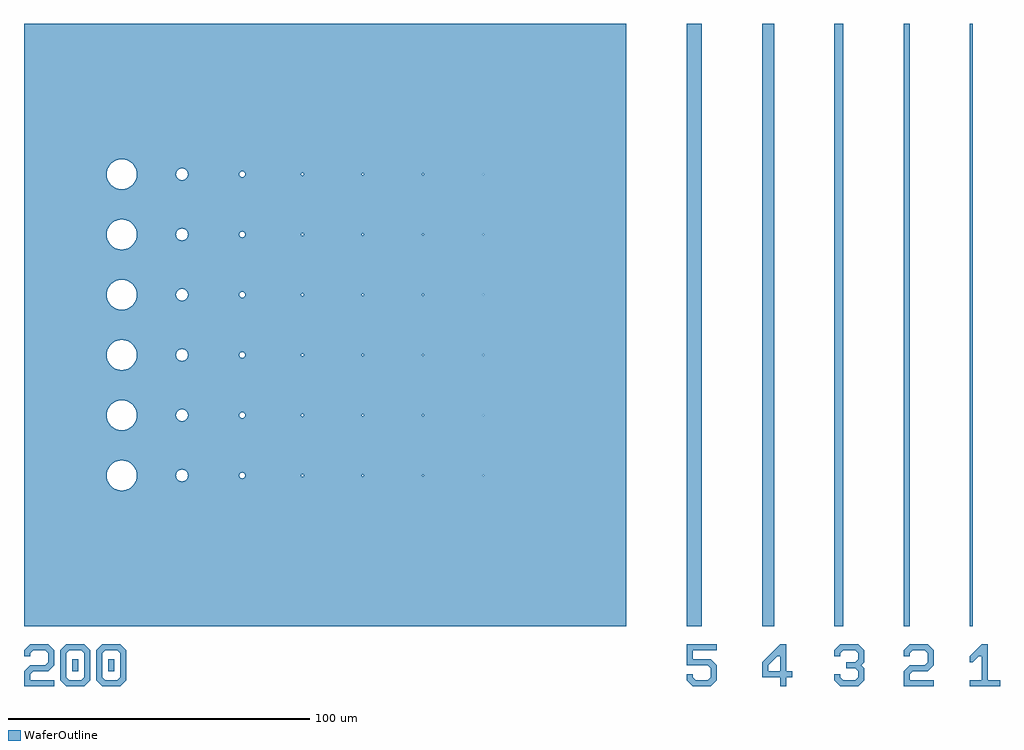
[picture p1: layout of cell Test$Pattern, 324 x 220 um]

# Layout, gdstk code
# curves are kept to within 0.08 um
import gdstk
lib = gdstk.Library(unit=1e-6, precision=1e-09)
def R(c, l, rs):  # rectangles x0, y0, x1, y1
    for r in rs: c.add(gdstk.rectangle(r[:2], r[2:], *l))
def P(c, l, *ps):  # polygons
    for p in ps: c.add(gdstk.Polygon(p, *l))
WaferOutline = (1, 0)

test_pattern = lib.new_cell('Test$Pattern')
R(test_pattern, WaferOutline, [(2394.66,-4977.28,2396.66,-4973.28), (2406.66,-4977.28,2408.66,-4973.28), (2598.66,-4962.28,2603.66,-4762.28), (2623.66,-4962.28,2627.66,-4762.28), (2647.66,-4962.28,2650.66,-4762.28), (2670.66,-4962.28,2672.66,-4762.28), (2692.66,-4962.28,2693.66,-4762.28)])
P(test_pattern, WaferOutline, [(2378.66,-4982.28),(2378.66,-4977.28),(2380.66,-4975.28),(2385.66,-4975.28),(2386.66,-4974.28),(2386.66,-4971.28),(2385.66,-4970.28),(2381.66,-4970.28),(2380.66,-4971.28),(2380.66,-4972.28),(2378.66,-4972.28),(2378.66,-4970.28),(2380.66,-4968.28),(2386.66,-4968.28),(2388.66,-4970.28),(2388.66,-4975.28),(2386.66,-4977.28),(2381.66,-4977.28),(2380.66,-4978.28),(2380.66,-4980.28),(2388.66,-4980.28),(2388.66,-4982.28)],
  [(2392.66,-4982.28),(2390.66,-4980.28),(2390.66,-4970.28),(2393.66,-4970.28),(2392.66,-4971.28),(2392.66,-4979.28),(2393.66,-4980.28),(2397.66,-4980.28),(2398.66,-4979.28),(2398.66,-4971.28),(2397.66,-4970.28),(2390.66,-4970.28),(2392.66,-4968.28),(2398.66,-4968.28),(2400.66,-4970.28),(2400.66,-4980.28),(2398.66,-4982.28)],
  [(2404.66,-4982.28),(2402.66,-4980.28),(2402.66,-4970.28),(2405.66,-4970.28),(2404.66,-4971.28),(2404.66,-4979.28),(2405.66,-4980.28),(2409.66,-4980.28),(2410.66,-4979.28),(2410.66,-4971.28),(2409.66,-4970.28),(2402.66,-4970.28),(2404.66,-4968.28),(2410.66,-4968.28),(2412.66,-4970.28),(2412.66,-4980.28),(2410.66,-4982.28)],
  [(2600.66,-4982.28),(2598.66,-4980.28),(2598.66,-4978.28),(2600.66,-4978.28),(2600.66,-4979.28),(2601.66,-4980.28),(2605.66,-4980.28),(2606.66,-4979.28),(2606.66,-4976.28),(2605.66,-4975.28),(2598.66,-4975.28),(2598.66,-4968.28),(2608.66,-4968.28),(2608.66,-4970.28),(2600.66,-4970.28),(2600.66,-4973.28),(2606.66,-4973.28),(2608.66,-4975.28),(2608.66,-4980.28),(2606.66,-4982.28)],
  [(2629.66,-4982.28),(2629.66,-4979.28),(2623.66,-4979.28),(2623.66,-4974.28),(2625.66,-4972.28),(2628.66,-4972.28),(2625.66,-4975.28),(2625.66,-4977.28),(2629.66,-4977.28),(2629.66,-4972.28),(2625.66,-4972.28),(2629.66,-4968.28),(2631.66,-4968.28),(2631.66,-4977.28),(2633.66,-4977.28),(2633.66,-4979.28),(2631.66,-4979.28),(2631.66,-4982.28)],
  [(2649.66,-4982.28),(2647.66,-4980.28),(2647.66,-4978.28),(2649.66,-4978.28),(2649.66,-4979.28),(2650.66,-4980.28),(2654.66,-4980.28),(2655.66,-4979.28),(2655.66,-4977.28),(2654.66,-4976.28),(2651.66,-4976.28),(2651.66,-4974.28),(2654.66,-4974.28),(2655.66,-4973.28),(2655.66,-4971.28),(2654.66,-4970.28),(2650.66,-4970.28),(2649.66,-4971.28),(2649.66,-4972.28),(2647.66,-4972.28),(2647.66,-4970.28),(2649.66,-4968.28),(2655.66,-4968.28),(2657.66,-4970.28),(2657.66,-4974.28),(2656.66,-4975.28),(2657.66,-4976.28),(2657.66,-4980.28),(2655.66,-4982.28)],
  [(2670.66,-4982.28),(2670.66,-4977.28),(2672.66,-4975.28),(2677.66,-4975.28),(2678.66,-4974.28),(2678.66,-4971.28),(2677.66,-4970.28),(2673.66,-4970.28),(2672.66,-4971.28),(2672.66,-4972.28),(2670.66,-4972.28),(2670.66,-4970.28),(2672.66,-4968.28),(2678.66,-4968.28),(2680.66,-4970.28),(2680.66,-4975.28),(2678.66,-4977.28),(2673.66,-4977.28),(2672.66,-4978.28),(2672.66,-4980.28),(2680.66,-4980.28),(2680.66,-4982.28)],
  [(2692.66,-4982.28),(2692.66,-4980.28),(2696.66,-4980.28),(2696.66,-4972.28),(2695.66,-4972.28),(2693.66,-4974.28),(2692.66,-4974.28),(2692.66,-4972.28),(2696.66,-4968.28),(2698.66,-4968.28),(2698.66,-4980.28),(2702.66,-4980.28),(2702.66,-4982.28)],
  [(2378.66,-4962.28),(2378.66,-4907.28),(2411.11,-4907.28),(2410.173,-4907.369),(2409.269,-4907.631),(2408.431,-4908.058),(2407.687,-4908.635),(2406.888,-4909.601),(2406.461,-4910.439),(2406.199,-4911.343),(2406.11,-4912.28),(2406.199,-4913.217),(2406.461,-4914.121),(2406.888,-4914.959),(2407.465,-4915.703),(2408.431,-4916.502),(2409.269,-4916.929),(2410.173,-4917.191),(2411.11,-4917.28),(2412.353,-4917.123),(2413.519,-4916.662),(2414.533,-4915.925),(2415.332,-4914.959),(2415.865,-4913.825),(2416.1,-4912.594),(2416.021,-4911.343),(2415.69,-4910.28),(2431.11,-4910.28),(2430.374,-4910.42),(2429.741,-4910.822),(2429.3,-4911.428),(2429.11,-4912.28),(2429.25,-4913.016),(2429.652,-4913.649),(2430.258,-4914.09),(2431.11,-4914.28),(2432.074,-4914.033),(2432.863,-4913.244),(2433.11,-4912.28),(2432.842,-4911.28),(2451.11,-4911.28),(2450.425,-4911.551),(2450.205,-4911.854),(2450.11,-4912.28),(2450.381,-4912.965),(2450.684,-4913.185),(2451.11,-4913.28),(2451.592,-4913.156),(2451.986,-4912.762),(2452.11,-4912.28),(2451.975,-4911.78),(2471.11,-4911.78),(2470.768,-4911.916),(2470.61,-4912.28),(2470.746,-4912.622),(2471.11,-4912.78),(2471.404,-4912.685),(2471.586,-4912.435),(2471.586,-4912.125),(2471.41,-4911.88),(2491.11,-4911.88),(2490.836,-4911.988),(2490.71,-4912.28),(2490.818,-4912.554),(2491.11,-4912.68),(2491.482,-4912.427),(2491.375,-4911.98),(2511.11,-4911.98),(2510.905,-4912.061),(2510.81,-4912.28),(2510.891,-4912.485),(2511.11,-4912.58),(2511.381,-4912.408),(2511.333,-4912.08),(2531.097,-4912.08),(2530.91,-4912.267),(2531.097,-4912.48),(2531.279,-4912.387),(2531.283,-4912.18),(2551.104,-4912.18),(2551.033,-4912.344),(2551.21,-4912.286),(2551.116,-4912.18),(2531.283,-4912.18),(2531.123,-4912.08),(2451.975,-4911.78),(2451.592,-4911.404),(2451.11,-4911.28),(2432.842,-4911.28),(2432.182,-4910.591),(2431.236,-4910.284),(2415.69,-4910.28),(2414.963,-4909.093),(2414.049,-4908.235),(2412.951,-4907.631),(2411.424,-4907.29),(2378.66,-4907.28),(2378.66,-4887.28),(2411.11,-4887.28),(2410.173,-4887.369),(2409.269,-4887.631),(2408.431,-4888.058),(2407.687,-4888.635),(2406.888,-4889.601),(2406.461,-4890.439),(2406.199,-4891.343),(2406.11,-4892.28),(2406.199,-4893.217),(2406.461,-4894.121),(2406.888,-4894.959),(2407.465,-4895.703),(2408.431,-4896.502),(2409.269,-4896.929),(2410.173,-4897.191),(2411.11,-4897.28),(2412.353,-4897.123),(2413.519,-4896.662),(2414.533,-4895.925),(2415.332,-4894.959),(2415.865,-4893.825),(2416.1,-4892.594),(2416.021,-4891.343),(2415.69,-4890.28),(2431.11,-4890.28),(2430.374,-4890.42),(2429.741,-4890.822),(2429.3,-4891.428),(2429.11,-4892.28),(2429.25,-4893.016),(2429.652,-4893.649),(2430.258,-4894.09),(2431.11,-4894.28),(2432.074,-4894.033),(2432.863,-4893.244),(2433.11,-4892.28),(2432.842,-4891.28),(2451.11,-4891.28),(2450.425,-4891.551),(2450.205,-4891.854),(2450.11,-4892.28),(2450.381,-4892.965),(2450.684,-4893.185),(2451.11,-4893.28),(2451.592,-4893.156),(2451.986,-4892.762),(2452.11,-4892.28),(2451.975,-4891.78),(2471.11,-4891.78),(2470.768,-4891.916),(2470.61,-4892.28),(2470.746,-4892.622),(2471.11,-4892.78),(2471.404,-4892.685),(2471.586,-4892.435),(2471.586,-4892.125),(2471.41,-4891.88),(2491.11,-4891.88),(2490.836,-4891.988),(2490.71,-4892.28),(2490.818,-4892.554),(2491.11,-4892.68),(2491.482,-4892.427),(2491.375,-4891.98),(2511.11,-4891.98),(2510.905,-4892.061),(2510.81,-4892.28),(2510.891,-4892.485),(2511.11,-4892.58),(2511.381,-4892.408),(2511.333,-4892.08),(2531.097,-4892.08),(2530.91,-4892.267),(2531.097,-4892.48),(2531.279,-4892.387),(2531.283,-4892.18),(2551.104,-4892.18),(2551.033,-4892.344),(2551.21,-4892.286),(2551.116,-4892.18),(2531.283,-4892.18),(2531.123,-4892.08),(2451.975,-4891.78),(2451.592,-4891.404),(2451.11,-4891.28),(2432.842,-4891.28),(2432.182,-4890.591),(2431.236,-4890.284),(2415.69,-4890.28),(2414.963,-4889.093),(2414.049,-4888.235),(2412.951,-4887.631),(2411.424,-4887.29),(2378.66,-4887.28),(2378.66,-4867.28),(2411.11,-4867.28),(2410.173,-4867.369),(2409.269,-4867.631),(2408.431,-4868.058),(2407.687,-4868.635),(2406.888,-4869.601),(2406.461,-4870.439),(2406.199,-4871.343),(2406.11,-4872.28),(2406.199,-4873.217),(2406.461,-4874.121),(2406.888,-4874.959),(2407.465,-4875.703),(2408.431,-4876.502),(2409.269,-4876.929),(2410.173,-4877.191),(2411.11,-4877.28),(2412.353,-4877.123),(2413.519,-4876.662),(2414.533,-4875.925),(2415.332,-4874.959),(2415.865,-4873.825),(2416.1,-4872.594),(2416.021,-4871.343),(2415.69,-4870.28),(2431.11,-4870.28),(2430.374,-4870.42),(2429.741,-4870.822),(2429.3,-4871.428),(2429.11,-4872.28),(2429.25,-4873.016),(2429.652,-4873.649),(2430.258,-4874.09),(2431.11,-4874.28),(2432.074,-4874.033),(2432.863,-4873.244),(2433.11,-4872.28),(2432.842,-4871.28),(2451.11,-4871.28),(2450.425,-4871.551),(2450.205,-4871.854),(2450.11,-4872.28),(2450.381,-4872.965),(2450.684,-4873.185),(2451.11,-4873.28),(2451.592,-4873.156),(2451.986,-4872.762),(2452.11,-4872.28),(2451.975,-4871.78),(2471.11,-4871.78),(2470.768,-4871.916),(2470.61,-4872.28),(2470.746,-4872.622),(2471.11,-4872.78),(2471.404,-4872.685),(2471.586,-4872.435),(2471.586,-4872.125),(2471.41,-4871.88),(2491.11,-4871.88),(2490.836,-4871.988),(2490.71,-4872.28),(2490.818,-4872.554),(2491.11,-4872.68),(2491.482,-4872.427),(2491.375,-4871.98),(2511.11,-4871.98),(2510.905,-4872.061),(2510.81,-4872.28),(2510.891,-4872.485),(2511.11,-4872.58),(2511.381,-4872.408),(2511.333,-4872.08),(2531.097,-4872.08),(2530.91,-4872.267),(2531.097,-4872.48),(2531.279,-4872.387),(2531.283,-4872.18),(2551.104,-4872.18),(2551.033,-4872.344),(2551.21,-4872.286),(2551.116,-4872.18),(2531.283,-4872.18),(2531.123,-4872.08),(2451.975,-4871.78),(2451.592,-4871.404),(2451.11,-4871.28),(2432.842,-4871.28),(2432.182,-4870.591),(2431.236,-4870.284),(2415.69,-4870.28),(2414.963,-4869.093),(2414.049,-4868.235),(2412.951,-4867.631),(2411.424,-4867.29),(2378.66,-4867.28),(2378.66,-4847.28),(2411.11,-4847.28),(2410.173,-4847.369),(2409.269,-4847.631),(2408.431,-4848.058),(2407.687,-4848.635),(2406.888,-4849.601),(2406.461,-4850.439),(2406.199,-4851.343),(2406.11,-4852.28),(2406.199,-4853.217),(2406.461,-4854.121),(2406.888,-4854.959),(2407.465,-4855.703),(2408.431,-4856.502),(2409.269,-4856.929),(2410.173,-4857.191),(2411.11,-4857.28),(2412.353,-4857.123),(2413.519,-4856.662),(2414.533,-4855.925),(2415.332,-4854.959),(2415.865,-4853.825),(2416.1,-4852.594),(2416.021,-4851.343),(2415.69,-4850.28),(2431.11,-4850.28),(2430.374,-4850.42),(2429.741,-4850.822),(2429.3,-4851.428),(2429.11,-4852.28),(2429.25,-4853.016),(2429.652,-4853.649),(2430.258,-4854.09),(2431.11,-4854.28),(2432.074,-4854.033),(2432.863,-4853.244),(2433.11,-4852.28),(2432.842,-4851.28),(2451.11,-4851.28),(2450.425,-4851.551),(2450.205,-4851.854),(2450.11,-4852.28),(2450.381,-4852.965),(2450.684,-4853.185),(2451.11,-4853.28),(2451.592,-4853.156),(2451.986,-4852.762),(2452.11,-4852.28),(2451.975,-4851.78),(2471.11,-4851.78),(2470.768,-4851.916),(2470.61,-4852.28),(2470.746,-4852.622),(2471.11,-4852.78),(2471.404,-4852.685),(2471.586,-4852.435),(2471.586,-4852.125),(2471.41,-4851.88),(2491.11,-4851.88),(2490.836,-4851.988),(2490.71,-4852.28),(2490.818,-4852.554),(2491.11,-4852.68),(2491.482,-4852.427),(2491.375,-4851.98),(2511.11,-4851.98),(2510.905,-4852.061),(2510.81,-4852.28),(2510.891,-4852.485),(2511.11,-4852.58),(2511.381,-4852.408),(2511.333,-4852.08),(2531.097,-4852.08),(2530.91,-4852.267),(2531.097,-4852.48),(2531.279,-4852.387),(2531.283,-4852.18),(2551.104,-4852.18),(2551.033,-4852.344),(2551.21,-4852.286),(2551.116,-4852.18),(2531.283,-4852.18),(2531.123,-4852.08),(2451.975,-4851.78),(2451.592,-4851.404),(2451.11,-4851.28),(2432.842,-4851.28),(2432.182,-4850.591),(2431.236,-4850.284),(2415.69,-4850.28),(2414.963,-4849.093),(2414.049,-4848.235),(2412.951,-4847.631),(2411.424,-4847.29),(2378.66,-4847.28),(2378.66,-4827.28),(2411.11,-4827.28),(2410.173,-4827.369),(2409.269,-4827.631),(2408.431,-4828.058),(2407.687,-4828.635),(2406.888,-4829.601),(2406.461,-4830.439),(2406.199,-4831.343),(2406.11,-4832.28),(2406.199,-4833.217),(2406.461,-4834.121),(2406.888,-4834.959),(2407.465,-4835.703),(2408.431,-4836.502),(2409.269,-4836.929),(2410.173,-4837.191),(2411.11,-4837.28),(2412.353,-4837.123),(2413.519,-4836.662),(2414.533,-4835.925),(2415.332,-4834.959),(2415.865,-4833.825),(2416.1,-4832.594),(2416.021,-4831.343),(2415.69,-4830.28),(2431.11,-4830.28),(2430.374,-4830.42),(2429.741,-4830.822),(2429.3,-4831.428),(2429.11,-4832.28),(2429.25,-4833.016),(2429.652,-4833.649),(2430.258,-4834.09),(2431.11,-4834.28),(2432.074,-4834.033),(2432.863,-4833.244),(2433.11,-4832.28),(2432.842,-4831.28),(2451.11,-4831.28),(2450.425,-4831.551),(2450.205,-4831.854),(2450.11,-4832.28),(2450.381,-4832.965),(2450.684,-4833.185),(2451.11,-4833.28),(2451.592,-4833.156),(2451.986,-4832.762),(2452.11,-4832.28),(2451.975,-4831.78),(2471.11,-4831.78),(2470.768,-4831.916),(2470.61,-4832.28),(2470.746,-4832.622),(2471.11,-4832.78),(2471.404,-4832.685),(2471.586,-4832.435),(2471.586,-4832.125),(2471.41,-4831.88),(2491.11,-4831.88),(2490.836,-4831.988),(2490.71,-4832.28),(2490.818,-4832.554),(2491.11,-4832.68),(2491.482,-4832.427),(2491.375,-4831.98),(2511.11,-4831.98),(2510.905,-4832.061),(2510.81,-4832.28),(2510.891,-4832.485),(2511.11,-4832.58),(2511.381,-4832.408),(2511.333,-4832.08),(2531.097,-4832.08),(2530.91,-4832.267),(2531.097,-4832.48),(2531.279,-4832.387),(2531.283,-4832.18),(2551.104,-4832.18),(2551.033,-4832.344),(2551.21,-4832.286),(2551.116,-4832.18),(2531.283,-4832.18),(2531.123,-4832.08),(2451.975,-4831.78),(2451.592,-4831.404),(2451.11,-4831.28),(2432.842,-4831.28),(2432.182,-4830.591),(2431.236,-4830.284),(2415.69,-4830.28),(2414.963,-4829.093),(2414.049,-4828.235),(2412.951,-4827.631),(2411.424,-4827.29),(2378.66,-4827.28),(2378.66,-4807.28),(2411.11,-4807.28),(2410.173,-4807.369),(2409.269,-4807.631),(2408.431,-4808.058),(2407.687,-4808.635),(2406.888,-4809.601),(2406.461,-4810.439),(2406.199,-4811.343),(2406.11,-4812.28),(2406.199,-4813.217),(2406.461,-4814.121),(2406.888,-4814.959),(2407.465,-4815.703),(2408.431,-4816.502),(2409.269,-4816.929),(2410.173,-4817.191),(2411.11,-4817.28),(2412.353,-4817.123),(2413.519,-4816.662),(2414.533,-4815.925),(2415.332,-4814.959),(2415.865,-4813.825),(2416.1,-4812.594),(2416.021,-4811.343),(2415.69,-4810.28),(2431.11,-4810.28),(2430.374,-4810.42),(2429.741,-4810.822),(2429.3,-4811.428),(2429.11,-4812.28),(2429.25,-4813.016),(2429.652,-4813.649),(2430.258,-4814.09),(2431.11,-4814.28),(2432.074,-4814.033),(2432.863,-4813.244),(2433.11,-4812.28),(2432.842,-4811.28),(2451.11,-4811.28),(2450.425,-4811.551),(2450.205,-4811.854),(2450.11,-4812.28),(2450.381,-4812.965),(2450.684,-4813.185),(2451.11,-4813.28),(2451.592,-4813.156),(2451.986,-4812.762),(2452.11,-4812.28),(2451.975,-4811.78),(2471.11,-4811.78),(2470.768,-4811.916),(2470.61,-4812.28),(2470.746,-4812.622),(2471.11,-4812.78),(2471.404,-4812.685),(2471.586,-4812.435),(2471.586,-4812.125),(2471.41,-4811.88),(2491.11,-4811.88),(2490.836,-4811.988),(2490.71,-4812.28),(2490.818,-4812.554),(2491.11,-4812.68),(2491.482,-4812.427),(2491.375,-4811.98),(2511.11,-4811.98),(2510.905,-4812.061),(2510.81,-4812.28),(2510.891,-4812.485),(2511.11,-4812.58),(2511.381,-4812.408),(2511.333,-4812.08),(2531.097,-4812.08),(2530.91,-4812.267),(2531.097,-4812.48),(2531.279,-4812.387),(2531.283,-4812.18),(2551.104,-4812.18),(2551.033,-4812.344),(2551.21,-4812.286),(2551.116,-4812.18),(2531.283,-4812.18),(2531.123,-4812.08),(2451.975,-4811.78),(2451.592,-4811.404),(2451.11,-4811.28),(2432.842,-4811.28),(2432.182,-4810.591),(2431.236,-4810.284),(2415.69,-4810.28),(2414.963,-4809.093),(2414.049,-4808.235),(2412.951,-4807.631),(2411.424,-4807.29),(2378.66,-4807.28),(2378.66,-4762.28),(2578.66,-4762.28),(2578.66,-4962.28)])

lib.write_gds('Test_Pattern.gds')
